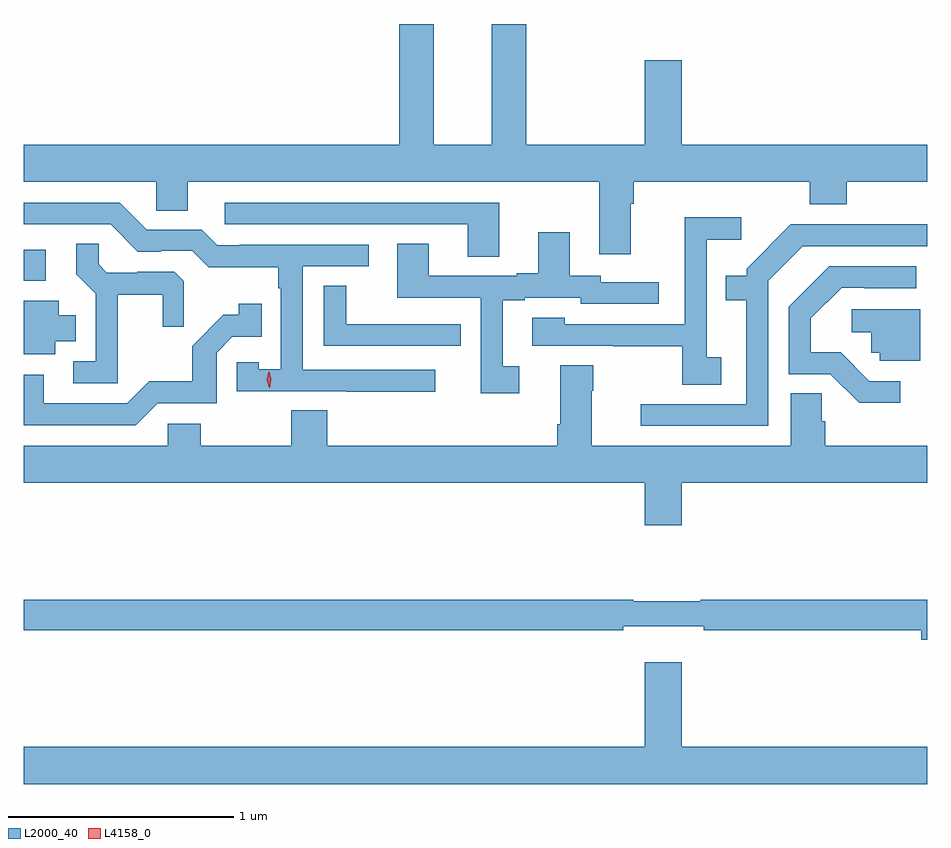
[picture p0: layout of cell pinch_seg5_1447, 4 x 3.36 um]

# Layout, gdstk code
import gdstk
lib = gdstk.Library(unit=1e-6, precision=1e-09)
def R(c, l, rs):  # rectangles x0, y0, x1, y1
    for r in rs: c.add(gdstk.rectangle(r[:2], r[2:], *l))
def P(c, l, *ps):  # polygons
    for p in ps: c.add(gdstk.Polygon(p, *l))
L2000_40 = (2000, 40)
L4158_0 = (4158, 0)

pinch_seg5_1447 = lib.new_cell('pinch_seg5_1447')
R(pinch_seg5_1447, L2000_40, [(210.211,894.951,210.31,895.087)])
P(pinch_seg5_1447, L2000_40, [(212.899,895.292),(212.912,895.292),(212.912,895.388),(213.689,895.388),(213.689,895.289),(213.854,895.289),(213.854,895.388),(214.211,895.388),(214.211,895.552),(213.124,895.552),(213.124,895.927),(212.96,895.927),(212.96,895.552),(212.435,895.552),(212.435,896.087),(212.282,896.087),(212.282,895.552),(212.026,895.552),(212.026,896.087),(211.874,896.087),(211.874,895.552),(210.211,895.552),(210.211,895.388),(210.798,895.388),(210.798,895.261),(210.937,895.261),(210.937,895.388),(212.759,895.388),(212.759,895.068),(212.899,895.068)],
  [(212.032,894.558),(211.446,894.558),(211.446,895.014),(211.738,895.014),(211.738,895.11),(211.168,895.11),(211.168,895.107),(211.068,895.107),(210.999,895.176),(210.756,895.176),(210.636,895.296),(210.211,895.296),(210.211,895.2),(210.597,895.2),(210.717,895.08),(210.818,895.08),(210.818,895.083),(210.957,895.083),(211.03,895.01),(211.338,895.01),(211.338,894.917),(211.35,894.917),(211.35,894.559),(211.251,894.559),(211.251,894.591),(211.155,894.591),(211.155,894.462),(211.639,894.462),(211.639,894.46),(212.032,894.46)],
  [(212.317,895.296),(211.101,895.296),(211.101,895.2),(212.177,895.2),(212.177,895.057),(212.317,895.057)],
  [(213.298,894.612),(213.234,894.612),(213.234,895.133),(213.388,895.133),(213.388,895.231),(213.136,895.231),(213.136,894.992),(213.138,894.992),(213.138,894.759),(212.607,894.759),(212.607,894.787),(212.463,894.787),(212.463,894.663),(212.821,894.663),(212.821,894.661),(213.126,894.661),(213.126,894.49),(213.298,894.49)],
  [(213.507,894.951),(213.66,895.104),(214.211,895.104),(214.211,895.202),(213.937,895.202),(213.937,895.2),(213.606,895.2),(213.411,895.005),(213.411,894.973),(213.319,894.973),(213.319,894.864),(213.41,894.864),(213.41,894.405),(212.943,894.405),(212.943,894.309),(213.507,894.309)],
  [(212.404,894.573),(212.332,894.573),(212.332,894.864),(212.428,894.864),(212.428,894.876),(212.676,894.876),(212.676,894.849),(213.022,894.849),(213.022,894.945),(212.766,894.945),(212.766,894.972),(212.629,894.972),(212.629,895.165),(212.489,895.165),(212.489,894.985),(212.393,894.985),(212.393,894.972),(212.005,894.972),(212.005,895.115),(211.865,895.115),(211.865,894.876),(212.235,894.876),(212.235,894.453),(212.404,894.453)],
  [(210.629,894.89),(210.826,894.89),(210.826,894.747),(210.92,894.747),(210.92,894.949),(210.879,894.99),(210.714,894.99),(210.714,894.987),(210.58,894.987),(210.543,895.024),(210.543,895.115),(210.445,895.115),(210.445,894.979),(210.531,894.893),(210.531,894.594),(210.432,894.594),(210.432,894.498),(210.629,894.498)],
  [(214.09,894.507),(213.954,894.507),(213.827,894.634),(213.694,894.634),(213.694,894.784),(213.831,894.921),(213.931,894.921),(213.931,894.918),(214.162,894.918),(214.162,895.014),(213.776,895.014),(213.597,894.835),(213.597,894.537),(213.78,894.537),(213.908,894.41),(214.09,894.41)],
  [(212.146,894.758),(212.033,894.758),(212.033,894.759),(211.638,894.759),(211.638,894.929),(211.539,894.929),(211.539,894.663),(212.146,894.663)],
  [(210.352,894.683),(210.442,894.683),(210.442,894.799),(210.367,894.799),(210.367,894.862),(210.211,894.862),(210.211,894.626),(210.352,894.626)],
  [(210.804,894.408),(211.065,894.408),(211.065,894.633),(211.134,894.702),(211.265,894.702),(211.265,894.85),(211.164,894.85),(211.164,894.8),(211.094,894.8),(210.957,894.662),(210.957,894.507),(210.768,894.507),(210.669,894.408),(210.301,894.408),(210.301,894.534),(210.211,894.534),(210.211,894.312),(210.708,894.312)],
  [(214.18,894.825),(213.876,894.825),(213.876,894.722),(213.963,894.722),(213.963,894.633),(213.999,894.633),(213.999,894.597),(214.18,894.597)],
  [(213.124,894.056),(214.211,894.056),(214.211,894.22),(213.758,894.22),(213.758,894.33),(213.743,894.33),(213.743,894.452),(213.605,894.452),(213.605,894.22),(212.725,894.22),(212.725,894.464),(212.733,894.464),(212.733,894.577),(212.585,894.577),(212.585,894.316),(212.573,894.316),(212.573,894.22),(211.556,894.22),(211.556,894.377),(211.396,894.377),(211.396,894.22),(210.996,894.22),(210.996,894.318),(210.849,894.318),(210.849,894.22),(210.211,894.22),(210.211,894.056),(212.96,894.056),(212.96,893.868),(213.124,893.868)],
  [(214.211,893.54),(213.208,893.54),(213.208,893.533),(212.908,893.533),(212.908,893.54),(210.211,893.54),(210.211,893.404),(212.864,893.404),(212.864,893.423),(213.22,893.423),(213.22,893.404),(214.184,893.404),(214.184,893.362),(214.211,893.362)],
  [(214.211,892.888),(213.124,892.888),(213.124,893.263),(212.96,893.263),(212.96,892.888),(210.211,892.888),(210.211,892.724),(214.211,892.724)])
P(pinch_seg5_1447, L4158_0, [(211.299,894.477),(211.299,894.477),(211.288,894.513),(211.297,894.549),(211.297,894.549),(211.298,894.549),(211.308,894.514),(211.3,894.477)])

lib.write_gds('pinch_seg5_1447.gds')
